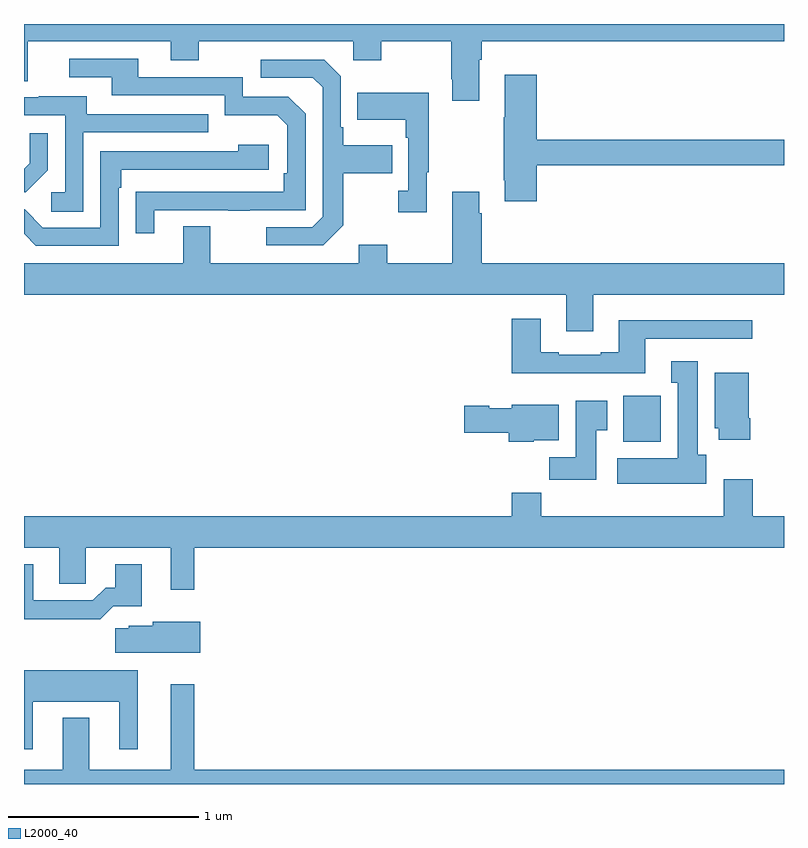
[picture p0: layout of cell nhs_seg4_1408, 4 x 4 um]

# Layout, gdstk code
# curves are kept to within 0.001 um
import gdstk
lib = gdstk.Library(unit=1e-6, precision=1e-09)
def R(c, l, rs):  # rectangles x0, y0, x1, y1
    for r in rs: c.add(gdstk.rectangle(r[:2], r[2:], *l))
def P(c, l, *ps):  # polygons
    for p in ps: c.add(gdstk.Polygon(p, *l))
L2000_40 = (2000, 40)

nhs_seg4_1408 = lib.new_cell('nhs_seg4_1408')
R(nhs_seg4_1408, L2000_40, [(186.155,806.702,186.352,806.944)])
P(nhs_seg4_1408, L2000_40, [(185.395,808.712),(185.408,808.712),(185.408,808.808),(187,808.808),(187,808.9),(183,808.9),(183,808.6),(183.019,808.6),(183.019,808.808),(183.773,808.808),(183.773,808.709),(183.921,808.709),(183.921,808.808),(184.734,808.808),(184.734,808.709),(184.881,808.709),(184.881,808.808),(185.248,808.808),(185.248,808.609),(185.255,808.609),(185.255,808.497),(185.395,808.497)],
  [(183.685,807.921),(184.075,807.921),(184.075,807.916),(184.187,807.916),(184.187,807.921),(184.482,807.921),(184.482,808.428),(184.392,808.518),(184.152,808.518),(184.152,808.62),(183.601,808.62),(183.601,808.716),(183.237,808.716),(183.237,808.62),(183.461,808.62),(183.461,808.524),(184.056,808.524),(184.056,808.421),(184.333,808.421),(184.386,808.368),(184.386,808.114),(184.366,808.114),(184.366,808.017),(183.589,808.016),(183.589,807.798),(183.685,807.798)],
  [(184.681,807.841),(184.681,808.114),(184.937,808.114),(184.937,808.261),(184.681,808.261),(184.681,808.357),(184.668,808.357),(184.668,808.626),(184.581,808.713),(184.245,808.713),(184.245,808.617),(184.521,808.617),(184.572,808.566),(184.572,807.885),(184.518,807.831),(184.275,807.831),(184.275,807.735),(184.575,807.735)],
  [(185.699,808.156),(187,808.156),(187,808.292),(185.699,808.292),(185.699,808.633),(185.531,808.633),(185.531,808.409),(185.524,808.409),(185.524,808.078),(185.531,808.078),(185.531,807.966),(185.699,807.966)],
  [(185.119,808.121),(185.131,808.121),(185.131,808.537),(184.753,808.537),(184.753,808.397),(185.01,808.397),(185.01,808.301),(185.022,808.301),(185.022,808.022),(184.971,808.022),(184.971,807.909),(185.119,807.909)],
  [(183.312,808.329),(183.971,808.329),(183.971,808.425),(183.331,808.425),(183.331,808.519),(183.077,808.519),(183.077,808.515),(183,808.515),(183,808.419),(183.216,808.419),(183.216,808.014),(183.144,808.014),(183.144,807.913),(183.312,807.913)],
  [(183.126,808.13),(183.126,808.324),(183.029,808.324),(183.029,808.167),(183,808.138),(183,808.014),(183.01,808.014)],
  [(183.498,808.037),(183.511,808.037),(183.511,808.134),(184.288,808.134),(184.288,808.264),(184.127,808.264),(184.127,808.23),(183.402,808.23),(183.402,807.828),(183.099,807.828),(183.003,807.924),(183,807.924),(183,807.795),(183.063,807.732),(183.498,807.732)],
  [(185.995,807.476),(187,807.476),(187,807.64),(185.408,807.64),(185.408,807.905),(185.395,807.905),(185.395,808.018),(185.255,808.018),(185.255,807.64),(184.911,807.64),(184.911,807.739),(184.763,807.739),(184.763,807.64),(183.979,807.64),(183.979,807.835),(183.839,807.835),(183.839,807.64),(183,807.64),(183,807.476),(185.855,807.476),(185.855,807.282),(185.995,807.282)],
  [(186.271,807.243),(186.832,807.243),(186.832,807.34),(186.131,807.34),(186.131,807.172),(186.035,807.172),(186.035,807.159),(185.815,807.159),(185.815,807.172),(185.719,807.172),(185.719,807.349),(185.567,807.349),(185.567,807.062),(186.271,807.062)],
  [(186.592,806.634),(186.547,806.634),(186.547,807.124),(186.407,807.124),(186.407,807.011),(186.44,807.011),(186.44,806.614),(186.123,806.614),(186.123,806.48),(186.592,806.48)],
  [(186.822,806.824),(186.814,806.824),(186.814,807.064),(186.635,807.064),(186.635,806.772),(186.656,806.772),(186.656,806.712),(186.822,806.712)],
  [(186.013,806.761),(186.07,806.761),(186.07,806.917),(185.903,806.917),(185.903,806.62),(185.764,806.62),(185.764,806.502),(186.013,806.502)],
  [(185.682,806.708),(185.815,806.708),(185.815,806.896),(185.568,806.896),(185.568,806.878),(185.448,806.878),(185.448,806.891),(185.316,806.891),(185.316,806.749),(185.552,806.749),(185.552,806.702),(185.682,806.702)],
  [(183.895,806.144),(187,806.144),(187,806.308),(186.836,806.308),(186.836,806.503),(186.683,806.503),(186.683,806.308),(185.723,806.308),(185.723,806.432),(185.567,806.432),(185.567,806.308),(183,806.308),(183,806.144),(183.185,806.144),(183.185,805.954),(183.324,805.954),(183.324,806.144),(183.773,806.144),(183.773,805.923),(183.895,805.923)],
  [(183.471,805.836),(183.619,805.836),(183.619,806.056),(183.479,806.056),(183.479,805.933),(183.43,805.933),(183.363,805.866),(183.049,805.866),(183.049,806.056),(183,806.056),(183,805.768),(183.145,805.768),(183.145,805.766),(183.401,805.766)],
  [(183.928,805.753),(183.678,805.753),(183.678,805.732),(183.552,805.732),(183.552,805.721),(183.48,805.721),(183.48,805.592),(183.928,805.592)],
  [(183.046,805.334),(183.5,805.334),(183.5,805.083),(183.598,805.083),(183.598,805.498),(183,805.498),(183,805.083),(183.046,805.083)],
  [(183.203,805.249),(183.203,804.976),(183,804.976),(183,804.9),(187,804.9),(187,804.976),(183.895,804.976),(183.895,805.426),(183.773,805.426),(183.773,804.976),(183.343,804.976),(183.343,805.249)])

lib.write_gds('nhs_seg4_1408.gds')
